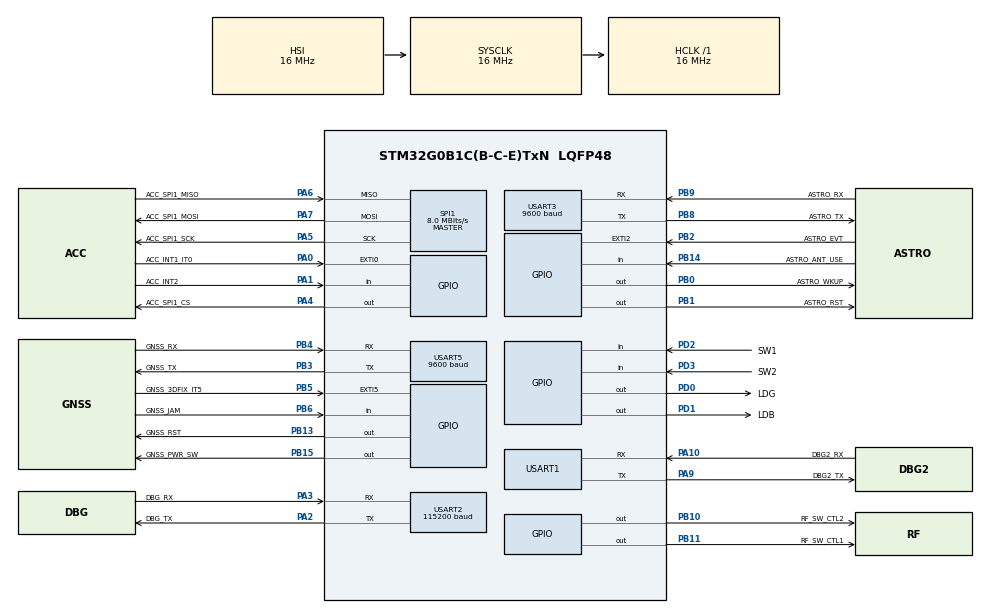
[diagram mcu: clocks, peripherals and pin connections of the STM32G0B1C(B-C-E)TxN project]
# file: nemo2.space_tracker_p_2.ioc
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Mcu.Family=STM32G0
Mcu.Name=STM32G0B1C(B-C-E)TxN
Mcu.Package=LQFP48
NVIC.EXTI2_3_IRQn=true\:0\:0\:false\:false\:true\:true\:true\:true
NVIC.RTC_TAMP_IRQn=true\:3\:0\:true\:false\:true\:true\:true\:true
NVIC.TIM6_DAC_LPTIM1_IRQn=true\:2\:0\:true\:false\:true\:true\:true\:true
PA0.GPIO_Label=ACC_INT1_IT0
PA0.Signal=GPXTI0
PA1.GPIO_Label=ACC_INT2
PA1.Signal=GPIO_Input
PA10.GPIO_Label=DBG2_RX
PA10.Mode=Asynchronous
PA10.Signal=USART1_RX
PA13.Mode=Serial_Wire
PA13.Signal=SYS_SWDIO
PA14-BOOT0.Mode=Serial_Wire
PA14-BOOT0.Signal=SYS_SWCLK
PA2.GPIO_Label=DBG_TX
PA2.Mode=Asynchronous
PA2.Signal=USART2_TX
PA3.GPIO_Label=DBG_RX
PA3.Mode=Asynchronous
PA3.Signal=USART2_RX
PA4.GPIO_Label=ACC_SPI1_CS
PA4.Signal=GPIO_Output
PA5.GPIO_Label=ACC_SPI1_SCK
PA5.Mode=Full_Duplex_Master
PA5.Signal=SPI1_SCK
PA6.GPIO_Label=ACC_SPI1_MISO
PA6.Mode=Full_Duplex_Master
PA6.Signal=SPI1_MISO
PA7.GPIO_Label=ACC_SPI1_MOSI
PA7.Mode=Full_Duplex_Master
PA7.Signal=SPI1_MOSI
PA9.GPIO_Label=DBG2_TX
PA9.Mode=Asynchronous
PA9.Signal=USART1_TX
PB0.GPIO_Label=ASTRO_WKUP
PB0.Signal=GPIO_Output
PB1.GPIO_Label=ASTRO_RST
PB1.Signal=GPIO_Output
PB10.GPIO_Label=RF_SW_CTL2
PB10.GPIO_PuPd=GPIO_NOPULL
PB10.Signal=GPIO_Output
PB11.GPIO_Label=RF_SW_CTL1
PB11.GPIO_PuPd=GPIO_NOPULL
PB11.PinState=GPIO_PIN_SET
PB11.Signal=GPIO_Output
PB13.GPIO_Label=GNSS_RST
PB13.GPIO_ModeDefaultOutputPP=GPIO_MODE_OUTPUT_OD
PB13.GPIO_PuPd=GPIO_NOPULL
PB13.Signal=GPIO_Output
PB14.GPIO_Label=ASTRO_ANT_USE
PB14.Signal=GPIO_Input
PB15.GPIO_Label=GNSS_PWR_SW
PB15.Signal=GPIO_Output
PB2.GPIO_Label=ASTRO_EVT
PB2.Signal=GPXTI2
PB3.GPIO_Label=GNSS_TX
PB3.Mode=Asynchronous
PB3.Signal=USART5_TX
PB4.GPIO_Label=GNSS_RX
PB4.Mode=Asynchronous
PB4.Signal=USART5_RX
PB5.GPIO_Label=GNSS_3DFIX_IT5
PB5.Signal=GPXTI5
PB6.GPIO_Label=GNSS_JAM
PB6.Signal=GPIO_Input
PB8.GPIO_Label=ASTRO_TX
PB8.Mode=Asynchronous
PB8.Signal=USART3_TX
PB9.GPIO_Label=ASTRO_RX
PB9.Mode=Asynchronous
PB9.Signal=USART3_RX
PC14-OSC32_IN\ (PC14).Mode=LSE-External-Oscillator
PC14-OSC32_IN\ (PC14).Signal=RCC_OSC32_IN
PC15-OSC32_OUT\ (PC15).Mode=LSE-External-Oscillator
PC15-OSC32_OUT\ (PC15).Signal=RCC_OSC32_OUT
PD0.GPIO_Label=LDG
PD0.Signal=GPIO_Output
PD1.GPIO_Label=LDB
PD1.Signal=GPIO_Output
PD2.GPIO_Label=SW1
PD2.GPIO_PuPd=GPIO_PULLUP
PD2.Signal=GPIO_Input
PD3.GPIO_Label=SW2
PD3.GPIO_PuPd=GPIO_PULLUP
PD3.Signal=GPIO_Input
ProjectManager.HeapSize=0x200
ProjectManager.StackSize=0x400
ProjectManager.TargetToolchain=STM32CubeIDE
RCC.AHBFreq_Value=16000000
RCC.CortexFreq_Value=16000000
RCC.EXTERNAL_CLOCK_VALUE=48000
RCC.HCLKFreq_Value=16000000
RCC.HSE_VALUE=8000000
RCC.HSI48_VALUE=48000000
RCC.HSI_VALUE=16000000
RCC.RTCClockSelection=RCC_RTCCLKSOURCE_LSE
RCC.SYSCLKFreq_VALUE=16000000
RCC.USBFreq_Value=48000000
RCC.VCOOutputFreq_Value=128000000
RTC.Alarm-Alarm\ A=RTC_ALARM_A
RTC.WeekDay=RTC_WEEKDAY_SATURDAY
SPI1.CalculateBaudRate=8.0 MBits/s
SPI1.Direction=SPI_DIRECTION_2LINES
SPI1.Mode=SPI_MODE_MASTER
SPI1.VirtualType=VM_MASTER
TIM6.Period=1000-1
TIM6.Prescaler=16000-1
USART1.VirtualMode-Asynchronous=VM_ASYNC
USART2.BaudRate=115200
USART2.VirtualMode-Asynchronous=VM_ASYNC
USART3.BaudRate=9600
USART3.VirtualMode-Asynchronous=VM_ASYNC
USART5.BaudRate=9600
USART5.VirtualMode-Asynchronous=VM_ASYNC
VP_RTC_VS_RTC_Activate.Mode=RTC_Enabled
VP_RTC_VS_RTC_Alarm_A_Intern.Mode=Alarm A
VP_RTC_VS_RTC_Calendar.Mode=RTC_Calendar
VP_SYS_VS_DBSignals.Mode=DisableDeadBatterySignals
VP_TIM6_VS_ClockSourceINT.Mode=Enable_Timer
board=custom

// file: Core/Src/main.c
/* USER CODE BEGIN Header */
/**
  ******************************************************************************
  * @file           : main.c
  * @brief          : Main program body
  ******************************************************************************
  * @attention
  *
  * Copyright (c) 2024 STMicroelectronics.
  * All rights reserved.
  *
  * This software is licensed under terms that can be found in the LICENSE file
  * in the root directory of this software component.
  * If no LICENSE file comes with this software, it is provided AS-IS.
  *
  ******************************************************************************
  */
  /*
   * Breakpoint ustawiony w linii 1050 w pliku astronode_application.c żeby debugować rcv_cmd
   */
/* USER CODE END Header */
#include "main.h"

RTC_HandleTypeDef hrtc;

SPI_HandleTypeDef hspi1;

TIM_HandleTypeDef htim6;

UART_HandleTypeDef huart1;
UART_HandleTypeDef huart2;
UART_HandleTypeDef huart3;
UART_HandleTypeDef huart5;

/* USER CODE BEGIN PV */

// SYSTEM
char*		hello = "\nHello nemo2.space tracker p 2\r\n\0" ;
const char*	fv = "0.0.3-alpha" ;
uint8_t 	rx_byte = 0 ;
bool 		sw1 , sw2 ;
uint8_t		sys_mode = 0 ; // 0 - Production, 1 - Simulation, 2 - Test , 3 - Reserved (maybe Development)
uint8_t		sys_mission = 0 ; // 0: Active, 1: Sustainable
uint16_t	sys_watchdog_time_ths = TIME_THS_15_MIN ;

// RTC
char		rtc_dt_s[20] ;
uint32_t 	my_rtc_alarmA_time = TIME_THS_1_H ;

// ASTRO
char		my_astro_payload[ASTRONODE_PAYLOAD_MAX_LEN] = {0} ;
cmd_astro	my_astro_cmd ;
uint16_t	uplink_id = 0 ;
uint32_t	last_uplink_send_ts = 0 ;

// GNSS
fix_astro	fix3d ;

// TIM

// ACC
stmdev_ctx_t	my_acc_ctx ;
int16_t 		my_acc_temp = 0 ;

// Flags
bool my_rtc_alarm_flag = false ;
bool my_gnss_3dfix_flag = false ;
bool my_acc_problem_flag = false ;

/* USER CODE END PV */

void SystemClock_Config(void);
static void MX_GPIO_Init(void);
static void MX_RTC_Init(void);
static void MX_TIM6_Init(void);
static void MX_SPI1_Init(void);
static void MX_USART1_UART_Init(void);
static void MX_USART2_UART_Init(void);
static void MX_USART3_UART_Init(void);
static void MX_USART5_UART_Init(void);
/* USER CODE BEGIN PFP */
void my_ldg_sw_on ( void ) ;
void my_ldb_sw_on ( void ) ;
void my_ldg_sw_off ( void ) ;
void my_ldb_sw_off ( void ) ;
void my_ldg_blink ( uint8_t , uint16_t ) ; // number of blinks, period of blink
void my_ldb_blink ( uint8_t , uint16_t ) ; // number of blinks, period of blink
void my_sys_init ( void ) ;
bool is_system_initialized ( void ) ;
void my_sys_restart ( void ) ;
void my_sys_standby ( void ) ;
void my_sys_sleep ( char* ) ;
void my_sys_deepsleep ( char* ) ;
void my_sys_change_watchdog_time_ths ( uint32_t ) ;
void my_sys_change_AlarmA_time ( uint32_t ) ;
void my_sys_change_fix_acq_ths ( uint32_t ) ;
void my_sys_change_min_tns_time_ths ( uint32_t ) ;
void my_sys_change_pdop_ths ( uint32_t ) ;
bool my_tracker_handle_cmd ( void ) ;
void my_astro_turn_payload_id_counter ( void ) ;

void my_gnss_sw_on ( void ) ;
void my_gnss_sw_off ( void ) ;
void my_gnss_verbose ( uint16_t ) ;

// ASTRO
void my_astro_send_uplink ( char* , char* ) ;

// ACC
bool 	my_acc_init ( void ) ;
bool 	my_acc_start ( void ) ;
bool 	my_acc_stop ( void ) ;
int32_t my_st_acc_platform_write ( void* , uint8_t , const uint8_t* , uint16_t ) ;
int32_t my_st_acc_platform_read ( void* , uint8_t , uint8_t* , uint16_t ) ;

void my_ant_sw_pos ( uint8_t ) ;

void my_tim_init ( void ) ;

bool my_astro_evt_pin ( void ) ;

/* USER CODE END PFP */

int main(void)
{

  /* MCU Configuration--------------------------------------------------------*/

  /* Reset of all peripherals, Initializes the Flash interface and the Systick. */
  HAL_Init();

  /* Configure the system clock */
  SystemClock_Config();

  /* Initialize all configured peripherals */
  MX_GPIO_Init();
  MX_RTC_Init();
  MX_TIM6_Init();
  MX_SPI1_Init();
  MX_USART1_UART_Init();
  MX_USART2_UART_Init();
  MX_USART3_UART_Init();
  MX_USART5_UART_Init();
  /* USER CODE BEGIN 2 */

  send_debug_logs ( hello ) ;

  my_sys_init () ;
  sprintf ( dbg_payload , "System mode: %u" , (uint16_t) sys_mode ) ;
  send_debug_logs ( dbg_payload ) ;

  my_tim_init () ;
  my_ant_sw_pos ( 2 ) ;
  if ( !my_acc_init () )
  {
	  my_acc_problem_flag = true ;
	  send_debug_logs ( "ACC init problem" ) ;
  }
  if ( !my_acc_start () )
  {
	  my_acc_problem_flag = true ;
	  send_debug_logs ( "ACC start problem" ) ;
  }
  //my_acc_stop () ;

  if ( !my_astro_init () )
	  my_sys_restart () ;
  else
  {
	  while ( my_astro_evt_pin () )
	  {
		  sprintf ( dbg_payload , "%s,%d,my_astro_evt_pin" , __FILE__ , __LINE__ ) ;
		  send_debug_logs ( dbg_payload ) ;
		  my_astro_handle_evt () ;
	  }
  }

  // my_gnss_verbose ( 15 ) ;

  my_gnss_sw_on () ;
  my_gnss_3dfix_flag = my_gnss_acq_coordinates ( &fix3d ) ;
  my_gnss_sw_off () ;
  my_rtc_get_dt_s ( rtc_dt_s ) ;
  sprintf ( dbg_payload , "%s,%d,%s,fix_mode=%c,pdop=%.1f,acq_time=%u,acq_total_time=%lu" , __FILE__ , __LINE__ , rtc_dt_s , fix3d.fix_mode , fix3d.pdop , fix3d.acq_time , (uint32_t) ( fix3d.acq_total_time / 60 ) ) ;
  send_debug_logs ( dbg_payload ) ;
  if ( !my_gnss_3dfix_flag )
  {
	  if ( my_rtc_set_alarm ( my_rtc_alarmA_time ) )
	  {
		  sprintf ( dbg_payload , "%s,%d,my_sys_sleep (), my_rtc_alarmA [s] = %lu" , __FILE__ , __LINE__ , my_rtc_alarmA_time ) ;
		  my_sys_sleep ( dbg_payload ) ;
	  }
  }
  else
  {
	  sprintf ( my_astro_payload , "%u,%.1f,%u,%lu,%s" , uplink_id , fix3d.pdop , fix3d.acq_time , (uint32_t) ( fix3d.acq_total_time / 60 ) , fv ) ;
	  sprintf ( dbg_payload , "%s,%d,payload: %s" , __FILE__ , __LINE__ , my_astro_payload ) ; // Żeby astro_payload_id był taki jak wysłany, bo po wysłaniu będzie zwiększony
	  my_astro_send_uplink ( my_astro_payload , dbg_payload ) ;
	  if ( my_rtc_set_alarm ( my_rtc_alarmA_time ) )
	  {
		  sprintf ( dbg_payload , "%s,%d,my_sys_sleep (), my_rtc_alarmA [s] = %lu" , __FILE__ , __LINE__ , my_rtc_alarmA_time ) ;
		  my_sys_sleep ( dbg_payload ) ;
	  }
  }

  /* USER CODE END 2 */

  /* Infinite loop */
  /* USER CODE BEGIN WHILE */
  while (1)
  {
	  while ( my_astro_evt_pin () )
	  {
		  sprintf ( dbg_payload , "%s,%d,my_astro_evt_pin" , __FILE__ , __LINE__ ) ;
		  send_debug_logs ( dbg_payload ) ;
		  my_astro_handle_evt () ;
	  }
	  if ( astro_rcv_cmd_flag )
	  {
		  astro_rcv_cmd_flag = false ;
		  my_tracker_handle_cmd () ;
		  my_astro_rcv_cmd[0] = 0 ;
	  }
	  if ( my_rtc_alarm_flag )
	  {
		  my_rtc_alarm_flag = false ;
		  my_gnss_sw_on () ;
		  my_gnss_3dfix_flag = my_gnss_acq_coordinates ( &fix3d ) ;
		  my_gnss_sw_off () ;
		  my_rtc_get_dt_s ( rtc_dt_s ) ;
		  sprintf ( dbg_payload , "%s,%d,%s,fix_mode=%c,pdop=%.1f,acq_time=%u,acq_total_time=%lu" , __FILE__ , __LINE__ , rtc_dt_s , fix3d.fix_mode , fix3d.pdop , fix3d.acq_time , (uint32_t) ( fix3d.acq_total_time / 60 ) ) ;
		  send_debug_logs ( dbg_payload ) ;
		  if ( my_gnss_3dfix_flag )
		  {
			  my_astro_write_coordinates ( fix3d.latitude_astro_geo_wr , fix3d.longitude_astro_geo_wr ) ;
			  sprintf ( my_astro_payload , "%u,%.1f,%u,%lu,%ld,%ld" , uplink_id , fix3d.pdop , fix3d.acq_time , (uint32_t) ( fix3d.acq_total_time / 60 ) , fix3d.latitude_astro_geo_wr , fix3d.longitude_astro_geo_wr ) ;
			  my_astro_add_payload_2_queue ( uplink_id++ , my_astro_payload ) ;
			  my_astro_turn_payload_id_counter () ;
			  sprintf ( dbg_payload , "%s,%d,payload: %s" , __FILE__ , __LINE__ , my_astro_payload ) ;
			  send_debug_logs ( dbg_payload ) ;
		  }
	  }
	  if ( my_rtc_set_alarm ( my_rtc_alarmA_time ) )
	  {
		  sprintf ( dbg_payload , "%s,%d,my_sys_sleep (), my_rtc_alarmA [s] = %lu" , __FILE__ , __LINE__ , my_rtc_alarmA_time ) ;
		  my_sys_sleep ( dbg_payload ) ;
	  }
    /* USER CODE END WHILE */

  }
}

void SystemClock_Config(void)
{
  RCC_OscInitTypeDef RCC_OscInitStruct = {0};
  RCC_ClkInitTypeDef RCC_ClkInitStruct = {0};

  /** Configure the main internal regulator output voltage
  */
  HAL_PWREx_ControlVoltageScaling(PWR_REGULATOR_VOLTAGE_SCALE1);

  /** Configure LSE Drive Capability
  */
  HAL_PWR_EnableBkUpAccess();
  __HAL_RCC_LSEDRIVE_CONFIG(RCC_LSEDRIVE_LOW);

  /** Initializes the RCC Oscillators according to the specified parameters
  * in the RCC_OscInitTypeDef structure.
  */
  RCC_OscInitStruct.OscillatorType = RCC_OSCILLATORTYPE_HSI|RCC_OSCILLATORTYPE_LSE;
  RCC_OscInitStruct.LSEState = RCC_LSE_ON;
  RCC_OscInitStruct.HSIState = RCC_HSI_ON;
  RCC_OscInitStruct.HSIDiv = RCC_HSI_DIV1;
  RCC_OscInitStruct.HSICalibrationValue = RCC_HSICALIBRATION_DEFAULT;
  RCC_OscInitStruct.PLL.PLLState = RCC_PLL_NONE;
  if (HAL_RCC_OscConfig(&RCC_OscInitStruct) != HAL_OK)
  {
    Error_Handler();
  }

  /** Initializes the CPU, AHB and APB buses clocks
  */
  RCC_ClkInitStruct.ClockType = RCC_CLOCKTYPE_HCLK|RCC_CLOCKTYPE_SYSCLK
                              |RCC_CLOCKTYPE_PCLK1;
  RCC_ClkInitStruct.SYSCLKSource = RCC_SYSCLKSOURCE_HSI;
  RCC_ClkInitStruct.AHBCLKDivider = RCC_SYSCLK_DIV1;
  RCC_ClkInitStruct.APB1CLKDivider = RCC_HCLK_DIV1;

  if (HAL_RCC_ClockConfig(&RCC_ClkInitStruct, FLASH_LATENCY_0) != HAL_OK)
  {
    Error_Handler();
  }
}

static void MX_RTC_Init(void)
{

  RTC_TimeTypeDef sTime = {0};
  RTC_DateTypeDef sDate = {0};
  RTC_AlarmTypeDef sAlarm = {0};

  /** Initialize RTC Only
  */
  hrtc.Instance = RTC;
  hrtc.Init.HourFormat = RTC_HOURFORMAT_24;
  hrtc.Init.AsynchPrediv = 127;
  hrtc.Init.SynchPrediv = 255;
  hrtc.Init.OutPut = RTC_OUTPUT_DISABLE;
  hrtc.Init.OutPutRemap = RTC_OUTPUT_REMAP_NONE;
  hrtc.Init.OutPutPolarity = RTC_OUTPUT_POLARITY_HIGH;
  hrtc.Init.OutPutType = RTC_OUTPUT_TYPE_OPENDRAIN;
  hrtc.Init.OutPutPullUp = RTC_OUTPUT_PULLUP_NONE;
  if (HAL_RTC_Init(&hrtc) != HAL_OK)
  {
    Error_Handler();
  }

  /** Initialize RTC and set the Time and Date
  */
  sTime.Hours = 0x0;
  sTime.Minutes = 0x0;
  sTime.Seconds = 0x0;
  sTime.SubSeconds = 0x0;
  sTime.DayLightSaving = RTC_DAYLIGHTSAVING_NONE;
  sTime.StoreOperation = RTC_STOREOPERATION_RESET;
  if (HAL_RTC_SetTime(&hrtc, &sTime, RTC_FORMAT_BCD) != HAL_OK)
  {
    Error_Handler();
  }
  sDate.WeekDay = RTC_WEEKDAY_SATURDAY;
  sDate.Month = RTC_MONTH_JANUARY;
  sDate.Date = 0x1;
  sDate.Year = 0x0;

  if (HAL_RTC_SetDate(&hrtc, &sDate, RTC_FORMAT_BCD) != HAL_OK)
  {
    Error_Handler();
  }

  /** Enable the Alarm A
  */
  sAlarm.AlarmTime.Hours = 0x0;
  sAlarm.AlarmTime.Minutes = 0x0;
  sAlarm.AlarmTime.Seconds = 0x0;
  sAlarm.AlarmTime.SubSeconds = 0x0;
  sAlarm.AlarmTime.DayLightSaving = RTC_DAYLIGHTSAVING_NONE;
  sAlarm.AlarmTime.StoreOperation = RTC_STOREOPERATION_RESET;
  sAlarm.AlarmMask = RTC_ALARMMASK_NONE;
  sAlarm.AlarmSubSecondMask = RTC_ALARMSUBSECONDMASK_ALL;
  sAlarm.AlarmDateWeekDaySel = RTC_ALARMDATEWEEKDAYSEL_DATE;
  sAlarm.AlarmDateWeekDay = 0x1;
  sAlarm.Alarm = RTC_ALARM_A;
  if (HAL_RTC_SetAlarm_IT(&hrtc, &sAlarm, RTC_FORMAT_BCD) != HAL_OK)
  {
    Error_Handler();
  }

}

static void MX_SPI1_Init(void)
{

  /* SPI1 parameter configuration*/
  hspi1.Instance = SPI1;
  hspi1.Init.Mode = SPI_MODE_MASTER;
  hspi1.Init.Direction = SPI_DIRECTION_2LINES;
  hspi1.Init.DataSize = SPI_DATASIZE_8BIT;
  hspi1.Init.CLKPolarity = SPI_POLARITY_LOW;
  hspi1.Init.CLKPhase = SPI_PHASE_1EDGE;
  hspi1.Init.NSS = SPI_NSS_SOFT;
  hspi1.Init.BaudRatePrescaler = SPI_BAUDRATEPRESCALER_2;
  hspi1.Init.FirstBit = SPI_FIRSTBIT_MSB;
  hspi1.Init.TIMode = SPI_TIMODE_DISABLE;
  hspi1.Init.CRCCalculation = SPI_CRCCALCULATION_DISABLE;
  hspi1.Init.CRCPolynomial = 7;
  hspi1.Init.CRCLength = SPI_CRC_LENGTH_DATASIZE;
  hspi1.Init.NSSPMode = SPI_NSS_PULSE_ENABLE;
  if (HAL_SPI_Init(&hspi1) != HAL_OK)
  {
    Error_Handler();
  }

}

static void MX_TIM6_Init(void)
{

  TIM_MasterConfigTypeDef sMasterConfig = {0};

  htim6.Instance = TIM6;
  htim6.Init.Prescaler = 16000-1;
  htim6.Init.CounterMode = TIM_COUNTERMODE_UP;
  htim6.Init.Period = 1000-1;
  htim6.Init.AutoReloadPreload = TIM_AUTORELOAD_PRELOAD_DISABLE;
  if (HAL_TIM_Base_Init(&htim6) != HAL_OK)
  {
    Error_Handler();
  }
  sMasterConfig.MasterOutputTrigger = TIM_TRGO_RESET;
  sMasterConfig.MasterSlaveMode = TIM_MASTERSLAVEMODE_DISABLE;
  if (HAL_TIMEx_MasterConfigSynchronization(&htim6, &sMasterConfig) != HAL_OK)
  {
    Error_Handler();
  }

}

static void MX_USART1_UART_Init(void)
{

  huart1.Instance = USART1;
  huart1.Init.BaudRate = 115200;
  huart1.Init.WordLength = UART_WORDLENGTH_8B;
  huart1.Init.StopBits = UART_STOPBITS_1;
  huart1.Init.Parity = UART_PARITY_NONE;
  huart1.Init.Mode = UART_MODE_TX_RX;
  huart1.Init.HwFlowCtl = UART_HWCONTROL_NONE;
  huart1.Init.OverSampling = UART_OVERSAMPLING_16;
  huart1.Init.OneBitSampling = UART_ONE_BIT_SAMPLE_DISABLE;
  huart1.Init.ClockPrescaler = UART_PRESCALER_DIV1;
  huart1.AdvancedInit.AdvFeatureInit = UART_ADVFEATURE_NO_INIT;
  if (HAL_UART_Init(&huart1) != HAL_OK)
  {
    Error_Handler();
  }
  if (HAL_UARTEx_SetTxFifoThreshold(&huart1, UART_TXFIFO_THRESHOLD_1_8) != HAL_OK)
  {
    Error_Handler();
  }
  if (HAL_UARTEx_SetRxFifoThreshold(&huart1, UART_RXFIFO_THRESHOLD_1_8) != HAL_OK)
  {
    Error_Handler();
  }
  if (HAL_UARTEx_DisableFifoMode(&huart1) != HAL_OK)
  {
    Error_Handler();
  }

}

static void MX_USART2_UART_Init(void)
{

  huart2.Instance = USART2;
  huart2.Init.BaudRate = 115200;
  huart2.Init.WordLength = UART_WORDLENGTH_8B;
  huart2.Init.StopBits = UART_STOPBITS_1;
  huart2.Init.Parity = UART_PARITY_NONE;
  huart2.Init.Mode = UART_MODE_TX_RX;
  huart2.Init.HwFlowCtl = UART_HWCONTROL_NONE;
  huart2.Init.OverSampling = UART_OVERSAMPLING_16;
  huart2.Init.OneBitSampling = UART_ONE_BIT_SAMPLE_DISABLE;
  huart2.Init.ClockPrescaler = UART_PRESCALER_DIV1;
  huart2.AdvancedInit.AdvFeatureInit = UART_ADVFEATURE_NO_INIT;
  if (HAL_UART_Init(&huart2) != HAL_OK)
  {
    Error_Handler();
  }
  if (HAL_UARTEx_SetTxFifoThreshold(&huart2, UART_TXFIFO_THRESHOLD_1_8) != HAL_OK)
  {
    Error_Handler();
  }
  if (HAL_UARTEx_SetRxFifoThreshold(&huart2, UART_RXFIFO_THRESHOLD_1_8) != HAL_OK)
  {
    Error_Handler();
  }
  if (HAL_UARTEx_DisableFifoMode(&huart2) != HAL_OK)
  {
    Error_Handler();
  }

}

static void MX_USART3_UART_Init(void)
{

  huart3.Instance = USART3;
  huart3.Init.BaudRate = 9600;
  huart3.Init.WordLength = UART_WORDLENGTH_8B;
  huart3.Init.StopBits = UART_STOPBITS_1;
  huart3.Init.Parity = UART_PARITY_NONE;
  huart3.Init.Mode = UART_MODE_TX_RX;
  huart3.Init.HwFlowCtl = UART_HWCONTROL_NONE;
  huart3.Init.OverSampling = UART_OVERSAMPLING_16;
  huart3.Init.OneBitSampling = UART_ONE_BIT_SAMPLE_DISABLE;
  huart3.Init.ClockPrescaler = UART_PRESCALER_DIV1;
  huart3.AdvancedInit.AdvFeatureInit = UART_ADVFEATURE_NO_INIT;
  if (HAL_UART_Init(&huart3) != HAL_OK)
  {
    Error_Handler();
  }
  if (HAL_UARTEx_SetTxFifoThreshold(&huart3, UART_TXFIFO_THRESHOLD_1_8) != HAL_OK)
  {
    Error_Handler();
  }
  if (HAL_UARTEx_SetRxFifoThreshold(&huart3, UART_RXFIFO_THRESHOLD_1_8) != HAL_OK)
  {
    Error_Handler();
  }
  if (HAL_UARTEx_DisableFifoMode(&huart3) != HAL_OK)
  {
    Error_Handler();
  }

}

static void MX_USART5_UART_Init(void)
{

  huart5.Instance = USART5;
  huart5.Init.BaudRate = 9600;
  huart5.Init.WordLength = UART_WORDLENGTH_8B;
  huart5.Init.StopBits = UART_STOPBITS_1;
  huart5.Init.Parity = UART_PARITY_NONE;
  huart5.Init.Mode = UART_MODE_TX_RX;
  huart5.Init.HwFlowCtl = UART_HWCONTROL_NONE;
  huart5.Init.OverSampling = UART_OVERSAMPLING_16;
  huart5.Init.OneBitSampling = UART_ONE_BIT_SAMPLE_DISABLE;
  huart5.Init.ClockPrescaler = UART_PRESCALER_DIV1;
  huart5.AdvancedInit.AdvFeatureInit = UART_ADVFEATURE_NO_INIT;
  if (HAL_UART_Init(&huart5) != HAL_OK)
  {
    Error_Handler();
  }

}

static void MX_GPIO_Init(void)
{
  GPIO_InitTypeDef GPIO_InitStruct = {0};

  /* GPIO Ports Clock Enable */
  __HAL_RCC_GPIOC_CLK_ENABLE();
  __HAL_RCC_GPIOA_CLK_ENABLE();
  __HAL_RCC_GPIOB_CLK_ENABLE();
  __HAL_RCC_GPIOD_CLK_ENABLE();

  /*Configure GPIO pin Output Level */
  HAL_GPIO_WritePin(ACC_SPI1_CS_GPIO_Port, ACC_SPI1_CS_Pin, GPIO_PIN_RESET);

  /*Configure GPIO pin Output Level */
  HAL_GPIO_WritePin(GPIOB, ASTRO_WKUP_Pin|ASTRO_RST_Pin|RF_SW_CTL2_Pin|GNSS_RST_Pin
                          |GNSS_PWR_SW_Pin, GPIO_PIN_RESET);

  /*Configure GPIO pin Output Level */
  HAL_GPIO_WritePin(RF_SW_CTL1_GPIO_Port, RF_SW_CTL1_Pin, GPIO_PIN_SET);

  /*Configure GPIO pin Output Level */
  HAL_GPIO_WritePin(GPIOD, LDG_Pin|LDB_Pin, GPIO_PIN_RESET);

  /*Configure GPIO pin : ACC_INT1_IT0_Pin */
  GPIO_InitStruct.Pin = ACC_INT1_IT0_Pin;
  GPIO_InitStruct.Mode = GPIO_MODE_IT_RISING;
  GPIO_InitStruct.Pull = GPIO_NOPULL;
  HAL_GPIO_Init(ACC_INT1_IT0_GPIO_Port, &GPIO_InitStruct);

  /*Configure GPIO pin : ACC_INT2_Pin */
  GPIO_InitStruct.Pin = ACC_INT2_Pin;
  GPIO_InitStruct.Mode = GPIO_MODE_INPUT;
  GPIO_InitStruct.Pull = GPIO_NOPULL;
  HAL_GPIO_Init(ACC_INT2_GPIO_Port, &GPIO_InitStruct);

  /*Configure GPIO pin : ACC_SPI1_CS_Pin */
  GPIO_InitStruct.Pin = ACC_SPI1_CS_Pin;
  GPIO_InitStruct.Mode = GPIO_MODE_OUTPUT_PP;
  GPIO_InitStruct.Pull = GPIO_NOPULL;
  GPIO_InitStruct.Speed = GPIO_SPEED_FREQ_LOW;
  HAL_GPIO_Init(ACC_SPI1_CS_GPIO_Port, &GPIO_InitStruct);

  /*Configure GPIO pins : ASTRO_WKUP_Pin ASTRO_RST_Pin RF_SW_CTL2_Pin RF_SW_CTL1_Pin
                           GNSS_PWR_SW_Pin */
  GPIO_InitStruct.Pin = ASTRO_WKUP_Pin|ASTRO_RST_Pin|RF_SW_CTL2_Pin|RF_SW_CTL1_Pin
                          |GNSS_PWR_SW_Pin;
  GPIO_InitStruct.Mode = GPIO_MODE_OUTPUT_PP;
  GPIO_InitStruct.Pull = GPIO_NOPULL;
  GPIO_InitStruct.Speed = GPIO_SPEED_FREQ_LOW;
  HAL_GPIO_Init(GPIOB, &GPIO_InitStruct);

  /*Configure GPIO pins : ASTRO_EVT_Pin GNSS_3DFIX_IT5_Pin */
  GPIO_InitStruct.Pin = ASTRO_EVT_Pin|GNSS_3DFIX_IT5_Pin;
  GPIO_InitStruct.Mode = GPIO_MODE_IT_RISING;
  GPIO_InitStruct.Pull = GPIO_NOPULL;
  HAL_GPIO_Init(GPIOB, &GPIO_InitStruct);

  /*Configure GPIO pin : GNSS_RST_Pin */
  GPIO_InitStruct.Pin = GNSS_RST_Pin;
  GPIO_InitStruct.Mode = GPIO_MODE_OUTPUT_OD;
  GPIO_InitStruct.Pull = GPIO_NOPULL;
  GPIO_InitStruct.Speed = GPIO_SPEED_FREQ_LOW;
  HAL_GPIO_Init(GNSS_RST_GPIO_Port, &GPIO_InitStruct);

  /*Configure GPIO pins : ASTRO_ANT_USE_Pin GNSS_JAM_Pin */
  GPIO_InitStruct.Pin = ASTRO_ANT_USE_Pin|GNSS_JAM_Pin;
  GPIO_InitStruct.Mode = GPIO_MODE_INPUT;
  GPIO_InitStruct.Pull = GPIO_NOPULL;
  HAL_GPIO_Init(GPIOB, &GPIO_InitStruct);

  /*Configure GPIO pins : LDG_Pin LDB_Pin */
  GPIO_InitStruct.Pin = LDG_Pin|LDB_Pin;
  GPIO_InitStruct.Mode = GPIO_MODE_OUTPUT_PP;
  GPIO_InitStruct.Pull = GPIO_NOPULL;
  GPIO_InitStruct.Speed = GPIO_SPEED_FREQ_LOW;
  HAL_GPIO_Init(GPIOD, &GPIO_InitStruct);

  /*Configure GPIO pins : SW1_Pin SW2_Pin */
  GPIO_InitStruct.Pin = SW1_Pin|SW2_Pin;
  GPIO_InitStruct.Mode = GPIO_MODE_INPUT;
  GPIO_InitStruct.Pull = GPIO_PULLUP;
  HAL_GPIO_Init(GPIOD, &GPIO_InitStruct);

  /* EXTI interrupt init*/
  HAL_NVIC_SetPriority(EXTI2_3_IRQn, 0, 0);
  HAL_NVIC_EnableIRQ(EXTI2_3_IRQn);

}

/* USER CODE BEGIN 4 */

// *** HARDWARE OPERATIONS

// ** SYSTEM OPERATION
void send_debug_logs ( const char* p_tx_buffer )
{
    uint32_t length = strlen ( p_tx_buffer ) ;

    if ( length > UART_TX_MAX_BUFF_SIZE )
    {
        HAL_UART_Transmit ( &HUART_DBG , ( uint8_t* ) "[ERROR] UART buffer reached max length.\n" , 42 , 1000 ) ;
        length = UART_TX_MAX_BUFF_SIZE;
    }

    HAL_UART_Transmit ( &HUART_DBG , ( uint8_t* ) p_tx_buffer , length , 1000 ) ;
    HAL_UART_Transmit ( &HUART_DBG , ( uint8_t* ) "\n" , 1 , 1000 ) ;
}
// SYS functions
void my_sys_init ( void )
{
	fix3d.acq_time = 0 ;
	fix3d.acq_total_time = 0 ;
	sw1 = HAL_GPIO_ReadPin ( SW1_GPIO_Port , SW1_Pin ) ;
	sw2 = HAL_GPIO_ReadPin ( SW2_GPIO_Port , SW2_Pin ) ;
	if ( !sw1 && !sw2 )
	{
		sys_mode = 0 ;
		my_rtc_alarmA_time = TIME_THS_1_H ;
		fix_acq_ths = TIME_THS_2_MIN ;
		min_tns_time_ths = TIME_THS_30_SEC ;
		pdop_ths = PDOP_THS ;
	}
	if ( sw1 && !sw2 )
	{
		sys_mode = 1 ;
		my_rtc_alarmA_time = TIME_THS_1_H ;
		fix_acq_ths = TIME_THS_2_MIN ;
		min_tns_time_ths = TIME_THS_30_SEC ;
		pdop_ths = PDOP_THS ;
	}
	if ( !sw1 && sw2 )
	{
		sys_mode = 2 ;
		my_rtc_alarmA_time = TIME_THS_5_MIN ;
		fix_acq_ths = TIME_THS_10_MIN ;
		min_tns_time_ths = TIME_THS_1_MIN ;
		pdop_ths = 10 ;
	}
	if ( sw1 && sw2 )
	{
		sys_mode = 3 ;
	}
}

bool is_system_initialized ( void )
{
	// Nie próbuj robić nic z Astronode, bo nie wiesz czy nie trzeba go zainicjować restartem. Ogranicz się do samego systemu.
	uint16_t yyyy = my_rtc_get_dt_s ( rtc_dt_s ) ;
	send_debug_logs ( rtc_dt_s ) ;
	return ( yyyy >= FIRMWARE_RELEASE_YEAR ) ? true : false ;
}

void my_sys_restart ( void )
{
	my_rtc_get_dt_s ( rtc_dt_s ) ;
	sprintf ( dbg_payload , "%s,%d,%s,HAL_NVIC_SystemReset" , __FILE__ , __LINE__ , rtc_dt_s ) ;
	send_debug_logs ( dbg_payload ) ;
	HAL_NVIC_SystemReset () ;
}

void my_sys_standby ( void )
{
	sprintf ( dbg_payload , "%s,%d,HAL_PWR_EnterSTANDBYMode" , __FILE__ , __LINE__ ) ;
	send_debug_logs ( dbg_payload ) ;
	my_tim_stop () ;
	my_rtc_alarm_flag = false ;
	HAL_PWR_EnterSTANDBYMode () ;
	my_rtc_get_dt_s ( rtc_dt_s ) ;
	sprintf ( dbg_payload , "%s,%d,%s, Wake-up after Standby" , __FILE__ , __LINE__ , rtc_dt_s ) ;
	send_debug_logs ( dbg_payload ) ;
}

void my_sys_sleep ( char* m )
{
	send_debug_logs ( m ) ;
	my_tim_stop () ;
	HAL_SuspendTick () ;
	my_rtc_alarm_flag = false ;
	HAL_PWR_EnterSTOPMode ( PWR_LOWPOWERREGULATOR_ON , PWR_STOPENTRY_WFE ) ;
	HAL_ResumeTick () ;
	my_rtc_get_dt_s ( rtc_dt_s ) ;
	sprintf ( m , "%s,%d,%s,Wake-up" , __FILE__ , __LINE__ , rtc_dt_s ) ;
	send_debug_logs ( m ) ;
}

void my_sys_deepsleep ( char* m )
{
	send_debug_logs ( m ) ;
	my_tim_stop () ;
	my_acc_stop () ;
	HAL_SuspendTick () ;
	my_rtc_alarm_flag = false ;
	HAL_PWR_EnterSTOPMode ( PWR_LOWPOWERREGULATOR_ON , PWR_STOPENTRY_WFE ) ;
	HAL_ResumeTick () ;
	my_acc_start () ;
	my_rtc_get_dt_s ( rtc_dt_s ) ;
	sprintf ( m , "%s,%d,%s,Wake-up" , __FILE__ , __LINE__ , rtc_dt_s ) ;
	send_debug_logs ( m ) ;
}

void my_sys_change_watchdog_time_ths ( uint32_t t )
{
	if ( t >= TIME_THS_5_MIN && t <= TIME_THS_1_H )
	{
		sys_watchdog_time_ths = t ;
		my_astro_cmd.is_executed = true ;
	}
}
void my_sys_change_AlarmA_time ( uint32_t t )
{
	if ( t >= TIME_THS_5_MIN && t <= TIME_THS_100_D )
	{
		my_rtc_alarmA_time = t ;
		my_astro_cmd.is_executed = true ;
	}
}
void my_sys_change_fix_acq_ths ( uint32_t t )
{
	if ( t >= TIME_THS_45_SEC && t <= TIME_THS_10_MIN )
	{
		fix_acq_ths = t ;
		my_astro_cmd.is_executed = true ;
	}
}
void my_sys_change_min_tns_time_ths ( uint32_t t )
{
	if ( t >= TIME_THS_15_SEC && t <= TIME_THS_10_MIN )
	{
		min_tns_time_ths = t ;
		my_astro_cmd.is_executed = true ;
	}
}
void my_sys_change_pdop_ths ( uint32_t p )
{
	if ( p >= 0.01 && p <= 100 )
	{
		pdop_ths = p ;
		my_astro_cmd.is_executed = true ;
	}
}
bool my_tracker_handle_cmd ( void )
{
	if ( my_tracker_api_is_cmd ( my_astro_rcv_cmd ) )
	{
		if ( my_tracker_api_parse_cmd ( &my_astro_cmd , my_astro_rcv_cmd ) )
		{
			switch ( my_astro_cmd.code )
			{
			  case 1:
				  my_sys_change_watchdog_time_ths ( my_astro_cmd.value ) ;
				  sprintf ( my_astro_payload , "%u,%u,%u,%lu" , uplink_id , (uint16_t) my_astro_cmd.is_executed , my_astro_cmd.code , my_astro_cmd.value ) ;
				  sprintf ( dbg_payload , "%s,%d,payload: %s" , __FILE__ , __LINE__ , my_astro_payload ) ; // Żeby astro_payload_id był taki jak wysłany, bo po wysłaniu będzie zwiększony
				  send_debug_logs ( dbg_payload ) ;
				  my_astro_add_payload_2_queue ( uplink_id++ , my_astro_payload ) ;
				  my_astro_turn_payload_id_counter () ;
				  break ;
			  case 2:
				  my_sys_change_AlarmA_time ( my_astro_cmd.value ) ;
				  sprintf ( my_astro_payload , "%u,%u,%u,%lu" , uplink_id , (uint16_t) my_astro_cmd.is_executed , my_astro_cmd.code , my_astro_cmd.value ) ;
				  sprintf ( dbg_payload , "%s,%d,payload: %s" , __FILE__ , __LINE__ , my_astro_payload ) ; // Żeby astro_payload_id był taki jak wysłany, bo po wysłaniu będzie zwiększony
				  send_debug_logs ( dbg_payload ) ;
				  my_astro_add_payload_2_queue ( uplink_id++ , my_astro_payload ) ;
				  my_astro_turn_payload_id_counter () ;
				  break ;
			  case 3:
				  my_sys_change_fix_acq_ths ( my_astro_cmd.value ) ;
				  sprintf ( my_astro_payload , "%u,%u,%u,%lu" , uplink_id , (uint16_t) my_astro_cmd.is_executed , my_astro_cmd.code , my_astro_cmd.value ) ;
				  sprintf ( dbg_payload , "%s,%d,payload: %s" , __FILE__ , __LINE__ , my_astro_payload ) ; // Żeby astro_payload_id był taki jak wysłany, bo po wysłaniu będzie zwiększony
				  send_debug_logs ( dbg_payload ) ;
				  my_astro_add_payload_2_queue ( uplink_id++ , my_astro_payload ) ;
				  my_astro_turn_payload_id_counter () ;
				  break ;
			  case 4:
				  my_sys_change_min_tns_time_ths ( my_astro_cmd.value ) ;
				  sprintf ( my_astro_payload , "%u,%u,%u,%lu" , uplink_id , (uint16_t) my_astro_cmd.is_executed , my_astro_cmd.code , my_astro_cmd.value ) ;
				  sprintf ( dbg_payload , "%s,%d,payload: %s" , __FILE__ , __LINE__ , my_astro_payload ) ; // Żeby astro_payload_id był taki jak wysłany, bo po wysłaniu będzie zwiększony
				  send_debug_logs ( dbg_payload ) ;
				  my_astro_add_payload_2_queue ( uplink_id++ , my_astro_payload ) ;
				  my_astro_turn_payload_id_counter () ;
				  break ;
			  case 5:
				  my_sys_change_pdop_ths ( my_astro_cmd.value ) ;
				  sprintf ( my_astro_payload , "%u,%u,%u,%lu" , uplink_id , (uint16_t) my_astro_cmd.is_executed , my_astro_cmd.code , my_astro_cmd.value ) ;
				  sprintf ( dbg_payload , "%s,%d,payload: %s" , __FILE__ , __LINE__ , my_astro_payload ) ; // Żeby astro_payload_id był taki jak wysłany, bo po wysłaniu będzie zwiększony
				  send_debug_logs ( dbg_payload ) ;
				  my_astro_add_payload_2_queue ( uplink_id++ , my_astro_payload ) ;
				  my_astro_turn_payload_id_counter () ;
				  break ;
			  case 8:
				  if ( my_astro_cmd.value == (uint32_t) GET_SYS_CFG )
				  {
					  sprintf ( my_astro_payload , "%u,%s,%u,%u,%lu,%u,%u,%.1f" , uplink_id , fv , (uint16_t) sys_mode , sys_watchdog_time_ths , my_rtc_alarmA_time , fix_acq_ths , min_tns_time_ths , pdop_ths ) ;
					  sprintf ( dbg_payload , "%s,%d,payload: %s" , __FILE__ , __LINE__ , my_astro_payload ) ; // Żeby astro_payload_id był taki jak wysłany, bo po wysłaniu będzie zwiększony
					  send_debug_logs ( dbg_payload ) ;
					  my_astro_add_payload_2_queue ( uplink_id++ , my_astro_payload ) ;
					  my_astro_turn_payload_id_counter () ;
				  }
				  if ( my_astro_cmd.value == (uint32_t) GET_SYS_COURSE )
				  {
					  iis2dh_temperature_raw_get ( &my_acc_ctx , &my_acc_temp ) ;
					  sprintf ( my_astro_payload , "%u,%lu,%d" , uplink_id , (uint32_t) ( fix3d.acq_total_time / 60 ) , my_acc_temp ) ;
					  sprintf ( dbg_payload , "%s,%d,payload: %s" , __FILE__ , __LINE__ , my_astro_payload ) ; // Żeby astro_payload_id był taki jak wysłany, bo po wysłaniu będzie zwiększony
					  send_debug_logs ( dbg_payload ) ;
					  my_astro_add_payload_2_queue ( uplink_id++ , my_astro_payload ) ;
					  my_astro_turn_payload_id_counter () ;
				  }
				  break ;
			  case 9:
				  // Tutaj wyjątkowo nie musi być uplink confimration, bo kolejny pakiet będzie miał id = 0, a logi będą wysłane w funkcji
				  if ( my_astro_cmd.value == (uint32_t) RESET_SYS_CMD_VALUE )
					  my_sys_restart () ;
				  break ;
			  default:
				  sprintf ( my_astro_payload , "%u,%u,%u,%lu" , uplink_id , (uint16_t) my_astro_cmd.is_executed , my_astro_cmd.code , my_astro_cmd.value ) ;
				  sprintf ( dbg_payload , "%s,%d,payload: %s" , __FILE__ , __LINE__ , my_astro_payload ) ; // Żeby astro_payload_id był taki jak wysłany, bo po wysłaniu będzie zwiększony
				  send_debug_logs ( dbg_payload ) ;
				  my_astro_add_payload_2_queue ( uplink_id++ , my_astro_payload ) ;
				  my_astro_turn_payload_id_counter () ;
				  return false ;
			}
		}
	}
	return true ;
}
// ** LED OPERATION
void my_ldg_sw_on ( void )
{
	HAL_GPIO_WritePin ( LDG_GPIO_Port , LDG_Pin , GPIO_PIN_SET ) ;
}
void my_ldb_sw_on ( void )
{
	HAL_GPIO_WritePin ( LDB_GPIO_Port , LDB_Pin , GPIO_PIN_SET ) ;
}
void my_ldg_sw_off ( void )
{
	HAL_GPIO_WritePin ( LDG_GPIO_Port , LDG_Pin , GPIO_PIN_RESET ) ;
}
void my_ldb_sw_off ( void )
{
	HAL_GPIO_WritePin ( LDB_GPIO_Port , LDB_Pin , GPIO_PIN_RESET ) ;
}
void my_ldg_blink ( uint8_t i , uint16_t d )
{
	while ( i )
	{
		HAL_GPIO_TogglePin ( LDG_GPIO_Port , LDG_Pin ) ;
		HAL_Delay ( d ) ;
		HAL_GPIO_TogglePin ( LDG_GPIO_Port , LDG_Pin ) ;
		HAL_Delay ( d ) ;
		i-- ;
	}
}
void my_ldb_blink ( uint8_t i , uint16_t d )
{
	while ( i )
	{
		HAL_GPIO_TogglePin ( LDB_GPIO_Port , LDB_Pin ) ;
		HAL_Delay ( d ) ;
		HAL_GPIO_TogglePin ( LDB_GPIO_Port , LDB_Pin ) ;
		HAL_Delay ( d ) ;
		i-- ;
	}
}

// ** ANT SW Operations
void my_ant_sw_pos ( uint8_t pos )
{
	if ( pos == 1 ) // Włączenie GNSS czyli ustawienie RF_SW_CTL1 = LOW i RF_SW_CTL2 = HIGH
	{
		HAL_GPIO_WritePin ( RF_SW_CTL1_GPIO_Port , RF_SW_CTL1_Pin , GPIO_PIN_RESET ) ;
		HAL_GPIO_WritePin ( RF_SW_CTL2_GPIO_Port , RF_SW_CTL2_Pin , GPIO_PIN_SET ) ;
	}
	else if ( pos == 2 )
	{
		HAL_GPIO_WritePin ( RF_SW_CTL1_GPIO_Port , RF_SW_CTL1_Pin , GPIO_PIN_SET ) ;
		HAL_GPIO_WritePin ( RF_SW_CTL2_GPIO_Port , RF_SW_CTL2_Pin , GPIO_PIN_RESET ) ;
	}
}

// ** GNSS Operations
void my_gnss_sw_on ( void )
{
	my_ant_sw_pos ( 1 ) ;
	HAL_GPIO_WritePin ( GNSS_PWR_SW_GPIO_Port , GNSS_PWR_SW_Pin , GPIO_PIN_SET ) ;
	HAL_GPIO_WritePin ( GNSS_PWR_SW_GPIO_Port , GNSS_RST_Pin , GPIO_PIN_SET ) ;
	MX_USART5_UART_Init () ;
}
void my_gnss_sw_off ( void )
{
	my_ant_sw_pos ( 2 ) ;
	if ( sys_mode < 2 )
	{
		HAL_GPIO_WritePin ( GNSS_PWR_SW_GPIO_Port , GNSS_PWR_SW_Pin , GPIO_PIN_RESET ) ;
		HAL_GPIO_WritePin ( GNSS_PWR_SW_GPIO_Port , GNSS_RST_Pin , GPIO_PIN_RESET ) ;
		HAL_UART_DeInit ( &HUART_GNSS ) ;
	}
}
void my_gnss_receive_byte ( uint8_t* rx_byte , bool verbose )
{
	HAL_UART_Receive ( &HUART_GNSS , rx_byte , 1 , UART_TIMEOUT ) ;
	if ( sys_mode > 0 )
		HAL_UART_Transmit ( &HUART_DBG , rx_byte , 1 , UART_TIMEOUT ) ;
}
bool is_fix3d ()
{
	GPIO_PinState r = HAL_GPIO_ReadPin ( GNSS_3DFIX_IT5_GPIO_Port , GNSS_3DFIX_IT5_Pin ) ;
	if ( r == GPIO_PIN_SET )
	{
		send_debug_logs( "3D Fix" ) ;
		return true ;
	}
	return false ;
}
void my_gnss_verbose ( uint16_t time_seconds_ths )
{
	  my_gnss_sw_on () ;
	  my_tim_start () ;
	  my_gnss_log ( time_seconds_ths ) ;
	  my_tim_stop () ;
	  my_gnss_sw_off () ;
}

// ACC
bool my_acc_init ( void )
{
	uint8_t id = 0 ;

	my_acc_ctx.write_reg = my_st_acc_platform_write ;
	my_acc_ctx.read_reg = my_st_acc_platform_read ;
	my_acc_ctx.handle = &hspi1 ;

	iis2dh_device_id_get ( &my_acc_ctx , &id ) ;
	if ( id != IIS2DH_ID )
		return false ;

	return true ;
}

bool my_acc_start ( void )
{
	uint8_t id = 0 ;

	iis2dh_device_id_get ( &my_acc_ctx , &id ) ;
	if ( id != IIS2DH_ID )
		return false ;

	//  Configuration: 2g, LP and 25Hz gives 4 uA of ACC power consumption
	iis2dh_full_scale_set ( &my_acc_ctx , IIS2DH_2g ) ; // FS bits [ 2 g - 16 g ]
	iis2dh_operating_mode_set ( &my_acc_ctx , IIS2DH_LP_8bit ) ; // [ High Resolution , Normal Mode , Low Power]
	iis2dh_data_rate_set ( &my_acc_ctx , IIS2DH_ODR_10Hz ) ; // Below 25Hz it will be hard to calculate free-fall
	iis2dh_fifo_mode_set ( &my_acc_ctx , IIS2DH_FIFO_MODE ) ; // FIFO mode allows consistent power saving for the system, since the host processor does not need to	continuously poll data from the sensor, but it can wake up only when needed and burst the significant data out from the FIFO.

	// Temperature sensor enable.
	// iis2dh_temperature_meas_set( &my_acc_ctx , IIS2DH_TEMP_ENABLE ) ;
	// To retrieve the temperature sensor data the BDU bit in CTRL_REG4 (23h) must be set to 1.
	// iis2dh_block_data_update_set ( &my_acc_ctx , PROPERTY_ENABLE ) ;

	// Interrupt request on INT1_SRC (31h) and INT2_SRC (35h) latched. Register cleared by reading INTx_SRC itself.
	iis2dh_int1_pin_notification_mode_set ( &my_acc_ctx , IIS2DH_INT2_LATCHED ) ;
	iis2dh_int2_pin_notification_mode_set ( &my_acc_ctx , IIS2DH_INT2_LATCHED ) ;

	// The IIS2DH may also be configured to generate an inertial wake-up and free-fall interrupt signal according to a programmed acceleration event along the enabled axes. Both free-fall and wake-up can be available simultaneously on two different pins.

	return true ;
}

bool my_acc_stop ( void )
{
	iis2dh_data_rate_set ( &my_acc_ctx , IIS2DH_POWER_DOWN ) ; // Below 25Hz it will be hard to calculate free-fall

	// Temperature sensor disable.
	iis2dh_temperature_meas_set( &my_acc_ctx , IIS2DH_TEMP_DISABLE ) ;
	// To retrieve the temperature sensor data the BDU bit in CTRL_REG4 (23h) must be set to 1.
	iis2dh_block_data_update_set ( &my_acc_ctx , PROPERTY_DISABLE ) ;

	// The IIS2DH may also be configured to generate an inertial wake-up and free-fall interrupt signal according to a programmed acceleration event along the enabled axes. Both free-fall and wake-up can be available simultaneously on two different pins.

	return true ;
}

/* ************************************* */
// ASTRO Operations
void my_astronode_reset ( void )
{
    HAL_GPIO_WritePin ( ASTRO_RST_GPIO_Port , ASTRO_RST_Pin , GPIO_PIN_SET ) ;
    HAL_Delay ( 1 ) ;
    HAL_GPIO_WritePin ( ASTRO_RST_GPIO_Port , ASTRO_RST_Pin , GPIO_PIN_RESET ) ;
    HAL_Delay ( 250 ) ;
}
void send_astronode_request ( uint8_t* p_tx_buffer , uint32_t length )
{
    send_debug_logs ( "Message sent to the Astronode --> " ) ;
    send_debug_logs ( ( char* ) p_tx_buffer ) ;
    HAL_UART_Transmit ( &HUART_ASTRO , p_tx_buffer , length , 1000 ) ;
}
uint32_t get_systick ( void )
{
    return HAL_GetTick() ;
}
bool is_systick_timeout_over ( uint32_t starting_value , uint16_t duration )
{
    return ( get_systick () - starting_value > duration ) ? true : false ;
}
bool is_astronode_character_received ( uint8_t* p_rx_char )
{
    return ( HAL_UART_Receive ( &HUART_ASTRO , p_rx_char , 1 , 100 ) == HAL_OK ? true : false ) ;
}
bool my_astro_evt_pin ()
{
	return ( HAL_GPIO_ReadPin ( ASTRO_EVT_GPIO_Port , ASTRO_EVT_Pin ) == GPIO_PIN_SET ? true : false);
}
void my_astro_turn_payload_id_counter ( void )
{
	if ( uplink_id > 99 )
		uplink_id = 1 ;
}
void my_astro_send_uplink ( char* p , char* m )
{
	if ( uplink_id == 0 && sys_mode != 0 ) // Present sys_mode in welcome uplink message if mode is other than production
		sprintf ( p , "%s,%u" , p , (uint16_t) sys_mode ) ;
	my_astro_add_payload_2_queue ( uplink_id++ , p ) ;
	my_astro_turn_payload_id_counter () ;
	last_uplink_send_ts = my_rtc_get_ts () ;
	send_debug_logs ( m ) ;
}

/* ************************************* */
// ACC LL Function

int32_t my_st_acc_platform_write ( void* handle , uint8_t reg , const uint8_t* bufp , uint16_t len )
{
	HAL_GPIO_WritePin	( ACC_SPI1_CS_GPIO_Port , ACC_SPI1_CS_Pin , GPIO_PIN_RESET ) ;
	HAL_Delay ( 20 ) ;
	HAL_SPI_Transmit	( handle , &reg , 1 , 1000 ) ;
	HAL_SPI_Transmit	( handle , (uint8_t*) bufp , len , 1000 ) ;
	HAL_GPIO_WritePin	( ACC_SPI1_CS_GPIO_Port , ACC_SPI1_CS_Pin , GPIO_PIN_SET) ;

	return 0 ;
}

int32_t my_st_acc_platform_read ( void* handle , uint8_t reg , uint8_t* bufp , uint16_t len )
{
	reg |= 0x80;
	HAL_GPIO_WritePin ( ACC_SPI1_CS_GPIO_Port , ACC_SPI1_CS_Pin , GPIO_PIN_RESET) ;
	HAL_Delay ( 20 ) ;
	HAL_SPI_Transmit ( handle , &reg , 1 , 1000 ) ;
	HAL_SPI_Receive ( handle , bufp , len , 1000 ) ;
	HAL_GPIO_WritePin ( ACC_SPI1_CS_GPIO_Port , ACC_SPI1_CS_Pin , GPIO_PIN_SET) ;

	return 0 ;
}

/* ************************************* */
// TIM operations
void my_tim_init ()
{
	__HAL_TIM_CLEAR_IT ( &TIM , TIM_IT_UPDATE ) ;
}

void my_tim_start ()
{
	tim_seconds = 0 ;
	HAL_TIM_Base_Start_IT ( &TIM ) ;
}

void my_tim_stop ()
{
	HAL_TIM_Base_Stop_IT ( &TIM ) ;
}

// *** CALBACKS

// TIM Callback
void HAL_TIM_PeriodElapsedCallback ( TIM_HandleTypeDef *htim )
{
	if ( htim->Instance == TIM6 )
	{
		tim_seconds++ ;
		if ( tim_seconds > sys_watchdog_time_ths )
			my_sys_restart () ;
	}
}

// RTC Callbacks
void HAL_RTC_AlarmAEventCallback ( RTC_HandleTypeDef* hrtc )
{
	// is_rtc_alarm_a_flag = true ;
	//__HAL_RTC_ALARM_CLEAR_FLAG ( hrtc , RTC_FLAG_ALRAF ) ;  // Wyczyść flagę alarmu
	my_rtc_alarm_flag = true ;
}

// ASTRO EVT Callbacks
void HAL_GPIO_EXTI_Rising_Callback ( uint16_t GPIO_Pin )
{

}
/* USER CODE END 4 */

void Error_Handler(void)
{
  __disable_irq();
  while (1)
  {
  }
}
